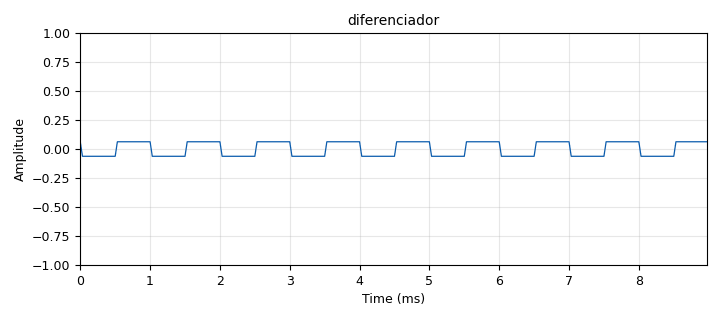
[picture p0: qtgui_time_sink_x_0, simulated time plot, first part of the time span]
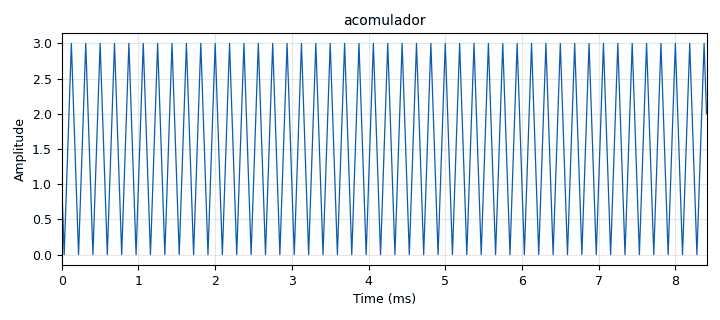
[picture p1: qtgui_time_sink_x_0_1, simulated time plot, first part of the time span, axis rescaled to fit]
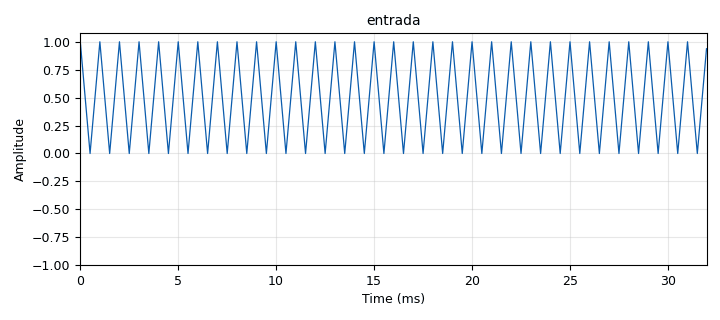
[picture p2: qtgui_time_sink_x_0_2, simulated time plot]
options:
  parameters:
    generate_options: qt_gui
    id: practica1
    output_language: python
    title: Not titled yet
  states: {}

blocks:
- name: samp_rate
  id: variable
  parameters:
    value: '32000'
  states: {}
- name: analog_sig_source_x_0
  id: analog_sig_source_x
  parameters:
    amp: '1'
    freq: '1000'
    offset: '0'
    phase: '0'
    samp_rate: samp_rate
    type: float
    waveform: analog.GR_TRI_WAVE
  states: {}
- name: blocks_throttle2_1
  id: blocks_throttle2
  parameters:
    samples_per_second: samp_rate
    type: float
  states: {}
- name: blocks_vector_source_x_2
  id: blocks_vector_source_x
  parameters:
    repeat: 'True'
    type: float
    vector: (1, 1, 1, -1, -1, -1)
  states: {}
- name: epy_block_0
  id: epy_block
  parameters:
    _source_code: "import numpy as np\nfrom gnuradio import gr\n\nclass blk(gr.sync_block):\n    def __init__(self, additionFlag=1.0):  # Todos los parámetros tienen un valor por defecto\n        super().__init__(\n            name='e_Acum',\n            in_sig=[np.float32],\n            out_sig=[np.float32]\n        )\n        self.additionFlag = additionFlag\n        self.accumulated_value = 0.0\n\n    def work(self, input_items, output_items):\n        x = input_items[0]    # Señal de entrada\n        y0 = output_items[0]  # Señal de salida\n\n        for i in range(len(x)):\n            self.accumulated_value += x[i] * self.additionFlag\n            y0[i] = self.accumulated_value\n\n        return len(y0)\n\n\n\n"
    additionFlag: '1'
  states: {}
- name: epy_block_1
  id: epy_block
  parameters:
    _source_code: |
      import numpy as np
      from gnuradio import gr

      class blk(gr.sync_block):
          def __init__(self):
              gr.sync_block.__init__(  # Usar super() es una mejor práctica
                  self,
                  name='e_Diff',
                  in_sig=[np.float32],
                  out_sig=[np.float32]
              )
              # Guarda la última muestra de la ejecución anterior
              self.prev_sample = 0.0

          def work(self, input_items, output_items):
              x = input_items[0]
              y = output_items[0]
              N = len(x)

              if N == 0:
                  return 0

              # 1) Diferencia para la primera muestra del bloque actual
              #    usando la última muestra del bloque anterior
              y[0] = x[0] - self.prev_sample

              # 2) Diferencia entre muestras consecutivas dentro del bloque
              for i in range(1, N):
                  y[i] = x[i] - x[i-1]

              # 3) Actualiza el estado para el siguiente bloque
              self.prev_sample = x[-1]

              return N
  states: {}
- name: qtgui_time_sink_x_0
  id: qtgui_time_sink_x
  parameters:
    name: diferenciador
    size: '1024'
    srate: samp_rate
    type: float
  states: {}
- name: qtgui_time_sink_x_0_1
  id: qtgui_time_sink_x
  parameters:
    name: acomulador
    size: '1024'
    srate: samp_rate
    type: float
  states: {}
- name: qtgui_time_sink_x_0_2
  id: qtgui_time_sink_x
  parameters:
    name: entrada
    size: '1024'
    srate: samp_rate
    type: float
  states: {}

connections:
- [analog_sig_source_x_0, '0', epy_block_1, '0']
- [analog_sig_source_x_0, '0', qtgui_time_sink_x_0_2, '0']
- [blocks_throttle2_1, '0', qtgui_time_sink_x_0_1, '0']
- [blocks_vector_source_x_2, '0', epy_block_0, '0']
- [epy_block_0, '0', blocks_throttle2_1, '0']
- [epy_block_1, '0', qtgui_time_sink_x_0, '0']

metadata:
  file_format: 1
  grc_version: v3.10.11.0-89-ga17f69e7
